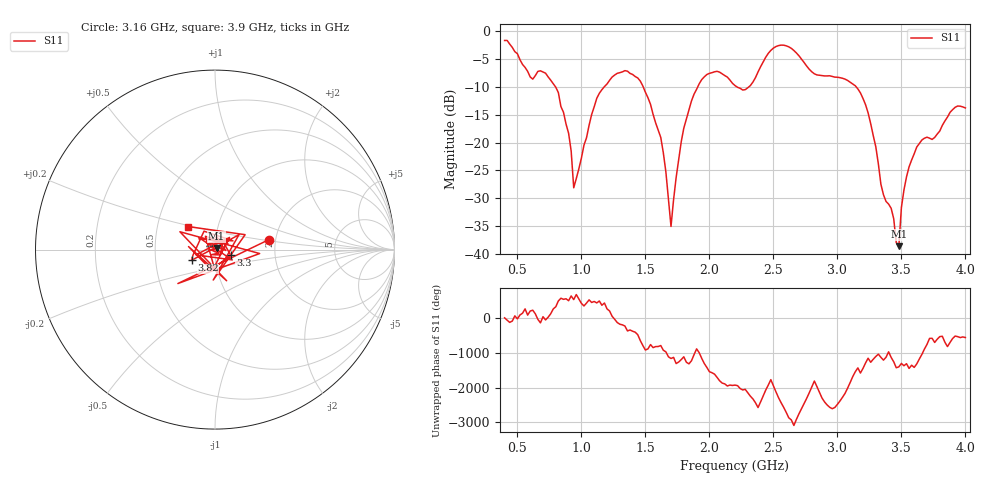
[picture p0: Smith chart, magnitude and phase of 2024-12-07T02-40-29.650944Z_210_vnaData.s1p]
!Created with skrf (http://scikit-rf.org).
# Hz S RI R 50.0
!freq ReS11 ImS11
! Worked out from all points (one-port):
!   181 points, 400 MHz to 4 GHz, reference 50 ohm
!   lowest |S11| = -38.6 dB at 3.48 GHz (marker M1), VSWR 1.02, Z = 50.9 + j0.769 ohm
!   |S11| at or under -10 dB: 799.1 MHz to 1.177 GHz (377.9 MHz wide, 38.2 % of centre); 1.483 GHz to 1.908 GHz (424.6 MHz wide, 25 % of centre); 3.148 GHz to end of sweep (the widest 3 of 4)
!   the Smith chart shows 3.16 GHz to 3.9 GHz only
!   S11 on the Smith chart (normalised r, x): 3.16 GHz: 1.84, +0.22; 3.3 GHz: 1.19, -0.07; 3.82 GHz: 0.76, -0.09; 3.9 GHz: 0.72, +0.19
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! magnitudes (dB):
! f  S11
! 400 MHz  -1.6
! 620 MHz  -8.6
! 720 MHz  -7.5
! 860 MHz  -14.5
! 920 MHz  -21.5
! 940 MHz  -28.1
! 1.12 GHz  -12.0
! 1.3 GHz  -7.4
! 1.54 GHz  -13.1
! 1.62 GHz  -19.0
! 1.7 GHz  -35.1
! 1.76 GHz  -23.0
! 1.86 GHz  -12.5
! 1.94 GHz  -8.7
! 2.2 GHz  -9.7
! 2.32 GHz  -9.7
! 2.52 GHz  -2.7
! 2.66 GHz  -3.4
! 3.1 GHz  -9.1
! 3.16 GHz  -10.3
! 3.3 GHz  -20.7
! 3.34 GHz  -27.5
! 3.48 GHz  -38.6
! 3.5 GHz  -31.7
! 3.56 GHz  -24.3
! 3.82 GHz  -16.9
! 3.9 GHz  -14.1
! 4 GHz  -13.8
